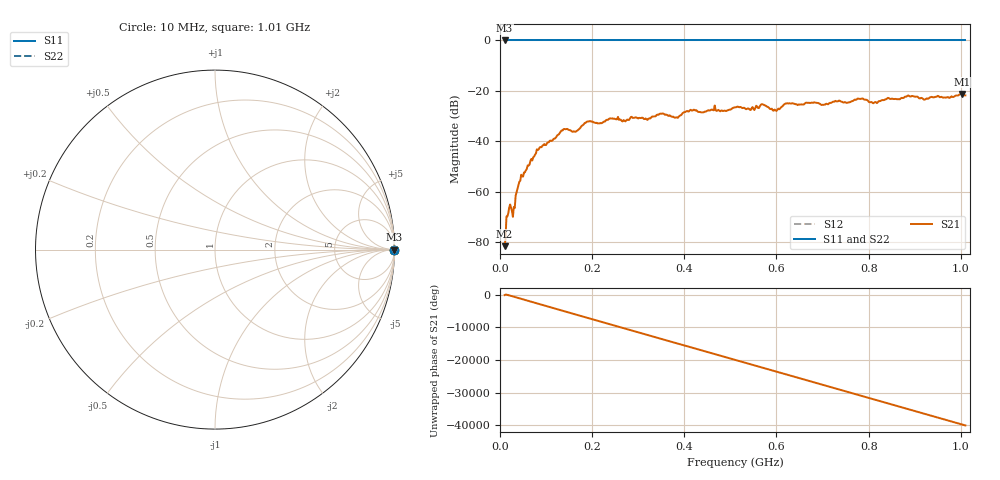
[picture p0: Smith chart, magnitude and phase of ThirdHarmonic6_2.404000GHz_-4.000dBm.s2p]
! 8/17/2025 3:59:04 AM
! C:\ANRITSUVNA\TEMP\TEMP.S2P
! CHANNEL.1
! TR.MEASUREMENT
! RAW.DATA
! RF.CORRECTION.OFF
! AVERAGING.OFF
! IF.BANDWIDTH: 5KHZ
! SWEEPTYPE:  FREQ.SWEEP(Linear)
! Reference Plane Port Info
! PORT:  PORT1  PORT2
! DISTANCE:  0  m  0  m
! TIME:  0  s  0  s
! PHASE.OFFSET:  0  deg.  0  deg.
! LOSS:  0  dB  0  dB
! REF.LOSS:  0  dB  0  dB
! REF.FREQ:  0  Hz  0  Hz
! Power Info
! POWER:  -20  dBm  -20  dBm
! EFF.POWER:  -20  dBm  -20  dBm
! SOURCE.ATTEN:  0  dB  0  dB
! TEST.ATTEN:  0  dB  0  dB
# GHZ S RI R 50.0
! FREQ.GHZ  S11RE  S11IM  S21RE  S21IM  S12RE  S12IM  S22RE  S22IM
!; PortSelection: Port_12
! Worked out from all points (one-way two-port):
!   501 points, 10 MHz to 1.01 GHz, reference 50 ohm
!   highest |S21| = -21.21 dB at 1.002 GHz (marker M1); lowest = -81.6 dB at 10 MHz (marker M2)
!   lowest |S11| = 0.0 dB at 10 MHz (marker M3)
!   |S11| at or under -10 dB: nowhere
!   |S22| runs from 0.0 to 0.0 dB; largest |S21 - S12| = 1.1
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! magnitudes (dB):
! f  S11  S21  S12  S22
! 10 MHz  0.0  -81.6  0.0  0.0
! 18 MHz  0.0  -68.5  0.0  0.0
! 28 MHz  0.0  -69.9  0.0  0.0
! 44 MHz  0.0  -55.6  0.0  0.0
! 82 MHz  0.0  -43.4  0.0  0.0
! 136 MHz  0.0  -35.6  0.0  0.0
! 162 MHz  0.0  -36.2  0.0  0.0
! 178 MHz  0.0  -33.8  0.0  0.0
! 192 MHz  0.0  -32.1  0.0  0.0
! 322 MHz  0.0  -31.0  0.0  0.0
! 344 MHz  0.0  -29.5  0.0  0.0
! 382 MHz  0.0  -30.5  0.0  0.0
! 416 MHz  0.0  -27.8  0.0  0.0
! 510 MHz  0.0  -26.5  0.0  0.0
! 570 MHz  0.0  -25.4  0.0  0.0
! 596 MHz  0.0  -27.4  0.0  0.0
! 622 MHz  0.0  -25.0  0.0  0.0
! 678 MHz  0.0  -24.7  0.0  0.0
! 814 MHz  0.0  -24.4  0.0  0.0
! 844 MHz  0.0  -22.9  0.0  0.0
! 1.002 GHz  0.0  -21.2  0.0  0.0
! 1.01 GHz  0.0  -21.8  0.0  0.0
